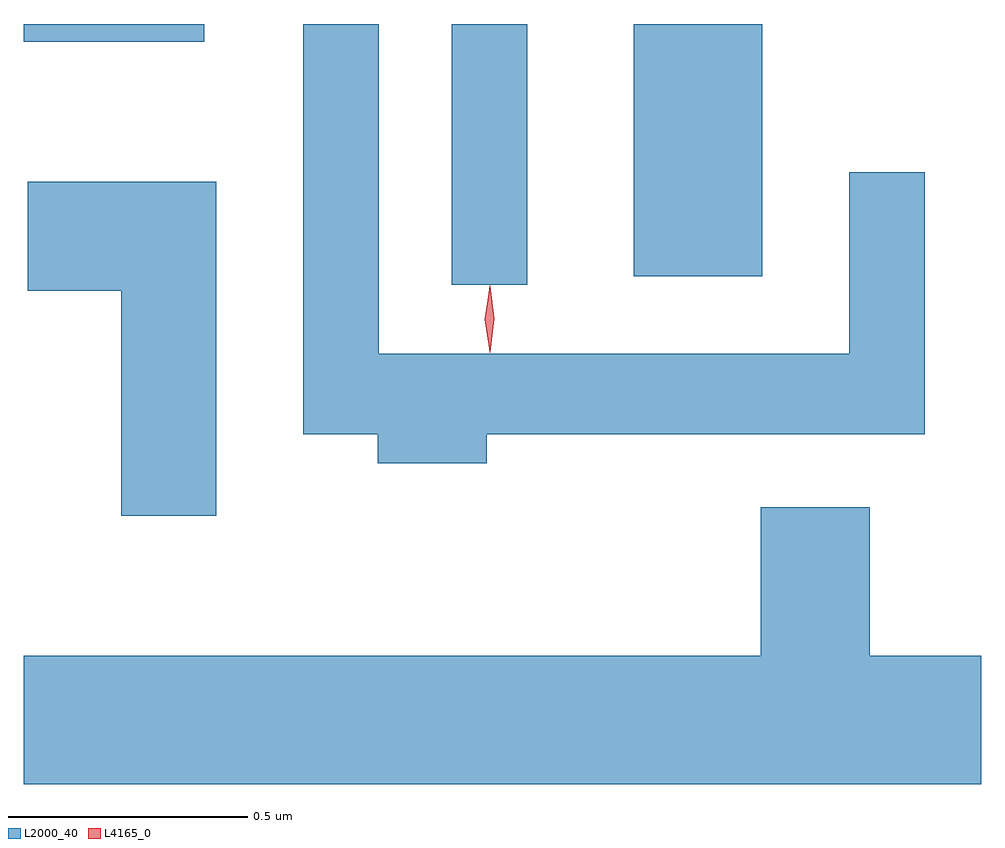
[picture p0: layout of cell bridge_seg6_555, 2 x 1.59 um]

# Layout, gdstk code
import gdstk
lib = gdstk.Library(unit=1e-6, precision=1e-09)
def R(c, l, rs):  # rectangles x0, y0, x1, y1
    for r in rs: c.add(gdstk.rectangle(r[:2], r[2:], *l))
def P(c, l, *ps):  # polygons
    for p in ps: c.add(gdstk.Polygon(p, *l))
L2000_40 = (2000, 40)
L4165_0 = (4165, 0)

bridge_seg6_555 = lib.new_cell('bridge_seg6_555')
R(bridge_seg6_555, L2000_40, [(545.286,1650.978,545.444,1651.523), (545.666,1650.996,545.934,1651.523), (544.392,1651.486,544.769,1651.523)])
P(bridge_seg6_555, L2000_40, [(545.359,1650.666),(546.274,1650.666),(546.274,1651.213),(546.116,1651.213),(546.116,1650.834),(545.134,1650.834),(545.134,1651.523),(544.976,1651.523),(544.976,1650.666),(545.131,1650.666),(545.131,1650.606),(545.359,1650.606)],
  [(544.794,1651.194),(544.401,1651.194),(544.401,1650.966),(544.596,1650.966),(544.596,1650.496),(544.794,1650.496)],
  [(546.392,1650.204),(546.159,1650.204),(546.159,1650.514),(545.931,1650.514),(545.931,1650.204),(544.392,1650.204),(544.392,1649.936),(546.392,1649.936)])
P(bridge_seg6_555, L4165_0, [(545.365,1650.839),(545.365,1650.84),(545.355,1650.906),(545.365,1650.972),(545.365,1650.973),(545.366,1650.972),(545.375,1650.906),(545.366,1650.84)],
  [(545.365,1650.837),(545.365,1650.838),(545.356,1650.907),(545.365,1650.976),(545.365,1650.976),(545.366,1650.976),(545.375,1650.907),(545.366,1650.838)])

lib.write_gds('bridge_seg6_555.gds')
